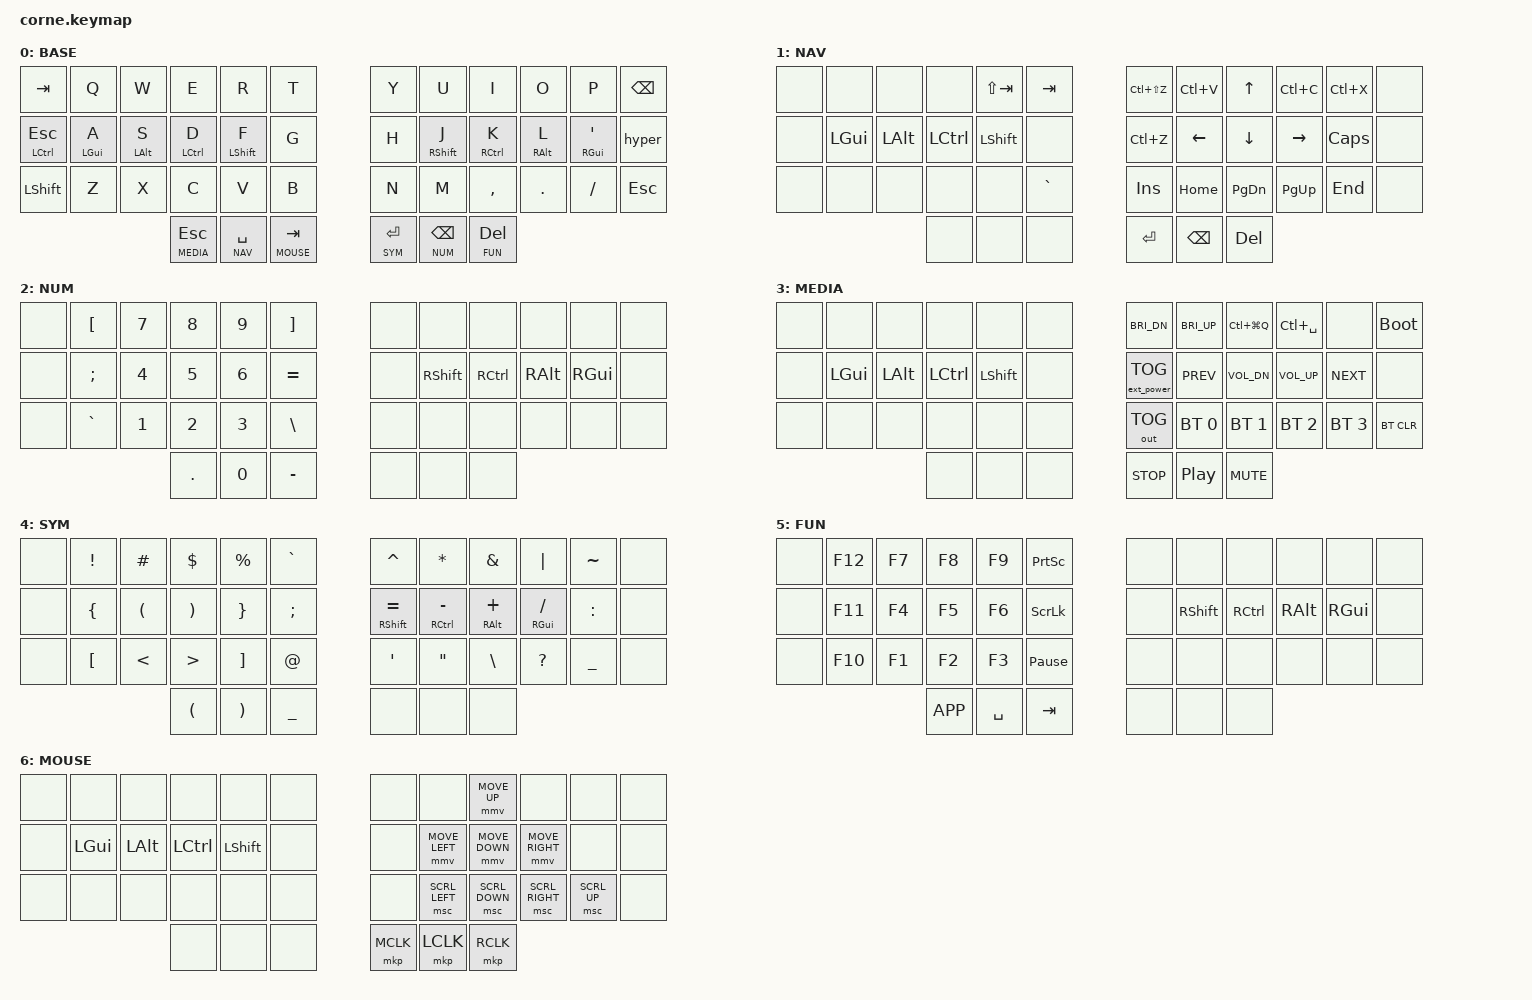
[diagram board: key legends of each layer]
/*
 * Copyright (c) 2020 The ZMK Contributors
 *
 * SPDX-License-Identifier: MIT
 */

//
//   Miryoku-style layout — QWERTY base, ESDF arrows, GACS home row mods
//   Adapted from TOTEM config for Corne (42-key)
//
//   Layer 0: BASE    — QWERTY + home row mods
//   Layer 1: NAV     — ESDF arrows right hand, nav (hold SPACE)
//   Layer 2: NUM     — numpad left hand (hold BSPC)
//   Layer 3: MEDIA   — media, BT, brightness (hold ESC)
//   Layer 4: SYM     — Getreuer symbols both hands (hold RET)
//   Layer 5: FUN     — function keys left hand (hold DEL)
//   Layer 6: MOUSE   — ESDF mouse movement right hand (hold TAB)

#include <behaviors.dtsi>
#include <dt-bindings/zmk/bt.h>
#include <dt-bindings/zmk/ext_power.h>
#include <dt-bindings/zmk/keys.h>
#include <dt-bindings/zmk/outputs.h>
#include <dt-bindings/zmk/pointing.h>
#include <dt-bindings/zmk/rgb.h>

#define BASE  0
#define NAV   1
#define NUM   2
#define MEDIA 3
#define SYM   4
#define FUN   5
#define MOUSE 6

// Corne key positions (42 keys):
// Row 0:  0  1  2  3  4  5    6  7  8  9  10  11
// Row 1: 12 13 14 15 16 17   18 19 20 21  22  23
// Row 2: 24 25 26 27 28 29   30 31 32 33  34  35
// Thumb:          36 37 38   39 40 41

#define KEYS_L 0 1 2 3 4 5 12 13 14 15 16 17 24 25 26 27 28 29
#define KEYS_R 6 7 8 9 10 11 18 19 20 21 22 23 30 31 32 33 34 35
#define THUMBS 36 37 38 39 40 41

&mt {
    flavor = "tap-preferred";
    tapping-term-ms = <200>;
    quick-tap-ms = <175>;
    require-prior-idle-ms = <150>;
};

&lt {
    flavor = "balanced";
    tapping-term-ms = <200>;
    quick-tap-ms = <175>;
};

/ {
    behaviors {
        // Left-hand home row mods (triggers hold ONLY when right keys or thumbs are pressed)
        hml: home_row_mods_left {
            compatible = "zmk,behavior-hold-tap";
            #binding-cells = <2>;
            flavor = "balanced";
            tapping-term-ms = <200>;
            quick-tap-ms = <175>;
            require-prior-idle-ms = <150>;
            bindings = <&kp>, <&kp>;
            hold-trigger-key-positions = <KEYS_R THUMBS>;
        };

        // Right-hand home row mods (triggers hold ONLY when left keys or thumbs are pressed)
        hmr: home_row_mods_right {
            compatible = "zmk,behavior-hold-tap";
            #binding-cells = <2>;
            flavor = "balanced";
            tapping-term-ms = <200>;
            quick-tap-ms = <175>;
            require-prior-idle-ms = <150>;
            bindings = <&kp>, <&kp>;
            hold-trigger-key-positions = <KEYS_L THUMBS>;
        };

    };

    combos {
        compatible = "zmk,combos";

        // -- Tier 0: Bootloader --

        combo_bootloader_left {
            bindings = <&bootloader>;
            key-positions = <0 1 4 5>;          // outer four top-row keys, left half
            timeout-ms = <50>;
            require-prior-idle-ms = <2000>;
        };

        // NOTE: there is deliberately no bootloader combo for the right half.
        // Combos are always evaluated on the central and fire a virtual key event
        // hardcoded to SOURCE_LOCAL, so &bootloader (locality EVENT_SOURCE) always
        // resets the LEFT half no matter which positions the combo lists. Only a
        // real key binding on a right-half position carries source = peripheral and
        // reaches the right half — see MEDIA layer position 11 (&bootloader).

        // -- Tier 1: Essential --

        combo_caps_word {
            bindings = <&caps_word>;
            key-positions = <16 19>;        // F + J (index home row)
            timeout-ms = <30>;
            require-prior-idle-ms = <150>;
        };

        combo_esc {
            bindings = <&kp ESC>;
            key-positions = <2 3>;          // W + E
            timeout-ms = <30>;
            require-prior-idle-ms = <150>;
        };

        combo_bspc {
            bindings = <&kp BSPC>;
            key-positions = <8 9>;          // I + O
            timeout-ms = <30>;
            require-prior-idle-ms = <150>;
        };

        combo_del {
            bindings = <&kp DEL>;
            key-positions = <9 10>;         // O + P
            timeout-ms = <30>;
            require-prior-idle-ms = <150>;
        };

        // -- Tier 2: High Value --

        combo_tab {
            bindings = <&kp TAB>;
            key-positions = <14 15>;        // S + D
            timeout-ms = <30>;
            require-prior-idle-ms = <150>;
        };

        combo_enter {
            bindings = <&kp RET>;
            key-positions = <20 21>;        // K + L
            timeout-ms = <30>;
            require-prior-idle-ms = <150>;
        };

        combo_copy {
            bindings = <&kp LC(C)>;
            key-positions = <26 27>;        // X + C
            timeout-ms = <30>;
            require-prior-idle-ms = <150>;
        };

        combo_paste {
            bindings = <&kp LC(V)>;
            key-positions = <27 28>;        // C + V
            timeout-ms = <30>;
            require-prior-idle-ms = <150>;
        };

        combo_cut {
            bindings = <&kp LC(X)>;
            key-positions = <26 28>;        // X + V (skip middle)
            timeout-ms = <30>;
            require-prior-idle-ms = <150>;
        };

        // -- Tier 3: Vertical Symbol Combos --

        combo_minus {
            bindings = <&kp MINUS>;
            key-positions = <19 31>;        // J + M (right index vertical)
            timeout-ms = <40>;
            require-prior-idle-ms = <100>;
        };

        combo_underscore {
            bindings = <&kp UNDER>;
            key-positions = <18 30>;        // H + N (right inner vertical)
            timeout-ms = <40>;
            require-prior-idle-ms = <100>;
        };

        combo_equal {
            bindings = <&kp EQUAL>;
            key-positions = <16 28>;        // F + V (left index vertical)
            timeout-ms = <40>;
            require-prior-idle-ms = <100>;
        };

        combo_grave {
            bindings = <&kp GRAVE>;
            key-positions = <14 26>;        // S + X (left ring vertical)
            timeout-ms = <40>;
            require-prior-idle-ms = <100>;
        };

        combo_semi {
            bindings = <&kp SEMI>;
            key-positions = <21 22>;        // L + ' (right ring+pinky home)
            timeout-ms = <30>;
            require-prior-idle-ms = <150>;
        };
    };

    macros {
        hyper: hyper {
            compatible = "zmk,behavior-macro";
            #binding-cells = <0>;
            bindings =
                <&macro_press &kp LGUI &kp LALT &kp LCTRL &kp LSHFT>,
                <&macro_pause_for_release>,
                <&macro_release &kp LGUI &kp LALT &kp LCTRL &kp LSHFT>;
        };
    };

    keymap {
        compatible = "zmk,keymap";

        base_layer {
            display-name = "BASE";
            bindings = <
&kp TAB        &kp Q        &kp W        &kp E         &kp R         &kp T          &kp Y       &kp U         &kp I         &kp O        &kp P        &kp BSPC
&mt LCTRL ESC  &hml LGUI A  &hml LALT S  &hml LCTRL D  &hml LSHFT F  &kp G          &kp H       &hmr RSHFT J  &hmr RCTRL K  &hmr RALT L  &hmr RGUI SQT &hyper
&kp LSHFT      &kp Z        &kp X        &kp C         &kp V         &kp B          &kp N       &kp M         &kp COMMA     &kp DOT      &kp FSLH     &kp ESC
                                         &lt MEDIA ESC &lt NAV SPACE &lt MOUSE TAB  &lt SYM RET   &lt NUM BSPC &lt FUN DEL
            >;
        };

        nav_layer {
            display-name = "NAV";
            bindings = <
&none          &none        &none        &none         &kp LS(TAB)   &kp TAB        &kp LC(LS(Z)) &kp LC(V)  &kp UP        &kp LC(C)    &kp LC(X)    &none
&none          &kp LGUI     &kp LALT     &kp LCTRL     &kp LSHFT     &none          &kp LC(Z)   &kp LEFT      &kp DOWN      &kp RIGHT    &kp CAPS     &none
&none          &none        &none        &none         &none         &kp GRAVE      &kp INS     &kp HOME      &kp PG_DN     &kp PG_UP    &kp END      &none
                                         &none         &none         &none          &kp RET     &kp BSPC      &kp DEL
            >;
        };

        num_layer {
            display-name = "NUM";
            bindings = <
&none          &kp LBKT     &kp N7       &kp N8        &kp N9        &kp RBKT       &none       &none         &none         &none        &none        &none
&none          &kp SEMI     &kp N4       &kp N5        &kp N6        &kp EQUAL      &none       &kp RSHFT     &kp RCTRL     &kp RALT     &kp RGUI     &none
&none          &kp GRAVE    &kp N1       &kp N2        &kp N3        &kp BSLH       &none       &none         &none         &none        &none        &none
                                         &kp DOT       &kp N0        &kp MINUS      &none       &none         &none
            >;
        };

        media_layer {
            display-name = "MEDIA";
            bindings = <
&none          &none        &none        &none         &none         &none          &kp C_BRI_DN &kp C_BRI_UP  &kp LC(LG(Q)) &kp LC(SPACE) &none       &bootloader
&none          &kp LGUI     &kp LALT     &kp LCTRL     &kp LSHFT     &none          &ext_power EP_TOG &kp C_PREV  &kp C_VOL_DN  &kp C_VOL_UP &kp C_NEXT   &none
&none          &none        &none        &none         &none         &none          &out OUT_TOG &bt BT_SEL 0  &bt BT_SEL 1  &bt BT_SEL 2 &bt BT_SEL 3 &bt BT_CLR
                                         &none         &none         &none          &kp C_STOP  &kp C_PP      &kp C_MUTE
            >;
        };

        sym_layer {
            display-name = "SYM";
            bindings = <
&none          &kp EXCL     &kp HASH     &kp DLLR      &kp PRCNT     &kp GRAVE      &kp CARET   &kp ASTRK     &kp AMPS      &kp PIPE     &kp TILDE    &none
&none          &kp LBRC     &kp LPAR     &kp RPAR      &kp RBRC      &kp SEMI       &hmr RSHFT EQUAL &hmr RCTRL MINUS &hmr RALT PLUS &hmr RGUI FSLH &kp COLON &none
&none          &kp LBKT     &kp LT       &kp GT        &kp RBKT      &kp AT         &kp SQT     &kp DQT       &kp BSLH      &kp QMARK    &kp UNDER    &none
                                         &kp LPAR      &kp RPAR      &kp UNDER      &none       &none         &none
            >;
        };

        fun_layer {
            display-name = "FUN";
            bindings = <
&none          &kp F12      &kp F7       &kp F8        &kp F9        &kp PSCRN      &none       &none         &none         &none        &none        &none
&none          &kp F11      &kp F4       &kp F5        &kp F6        &kp SLCK       &none       &kp RSHFT     &kp RCTRL     &kp RALT     &kp RGUI     &none
&none          &kp F10      &kp F1       &kp F2        &kp F3        &kp PAUSE_BREAK &none      &none         &none         &none        &none        &none
                                         &kp K_APP     &kp SPACE     &kp TAB        &none       &none         &none
            >;
        };

        mouse_layer {
            display-name = "MOUSE";
            bindings = <
&none          &none        &none        &none         &none         &none          &none            &none            &mmv MOVE_UP   &none               &none        &none
&none          &kp LGUI     &kp LALT     &kp LCTRL     &kp LSHFT     &none          &none            &mmv MOVE_LEFT   &mmv MOVE_DOWN &mmv MOVE_RIGHT   &none        &none
&none          &none        &none        &none         &none         &none          &none            &msc SCRL_LEFT   &msc SCRL_DOWN &msc SCRL_RIGHT   &msc SCRL_UP &none
                                         &none         &none         &none          &mkp MCLK        &mkp LCLK        &mkp RCLK
            >;
        };
    };
};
